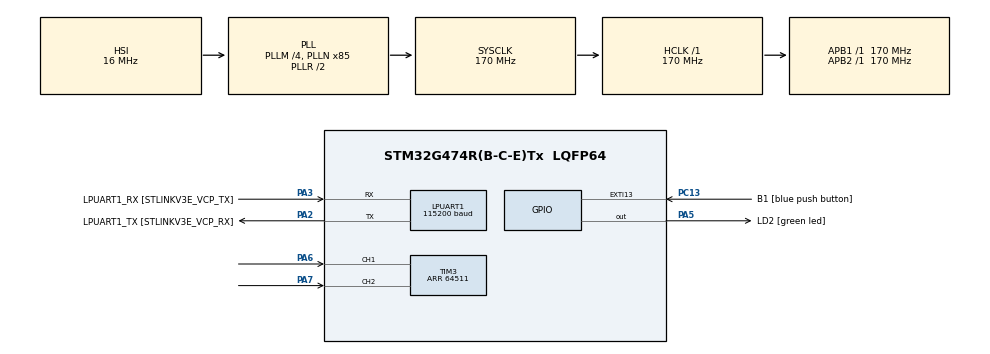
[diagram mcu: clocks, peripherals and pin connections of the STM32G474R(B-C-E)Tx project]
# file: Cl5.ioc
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LPUART1.BaudRate=115200
LPUART1.WordLength=UART_WORDLENGTH_8B
Mcu.Family=STM32G4
Mcu.Name=STM32G474R(B-C-E)Tx
Mcu.Package=LQFP64
NVIC.EXTI15_10_IRQn=true\:0\:0\:false\:false\:true\:true\:true\:true
NVIC.PriorityGroup=NVIC_PRIORITYGROUP_4
NVIC.TIM5_IRQn=true\:0\:0\:false\:false\:true\:true\:true\:true
PA13.GPIO_Label=T_SWDIO
PA13.Mode=Serial_Wire
PA13.Signal=SYS_JTMS-SWDIO
PA14.GPIO_Label=T_SWCLK
PA14.Mode=Serial_Wire
PA14.Signal=SYS_JTCK-SWCLK
PA2.GPIO_Label=LPUART1_TX [STLINKV3E_VCP_RX]
PA2.Mode=Asynchronous
PA2.Signal=LPUART1_TX
PA3.GPIO_Label=LPUART1_RX [STLINKV3E_VCP_TX]
PA3.Mode=Asynchronous
PA3.Signal=LPUART1_RX
PA5.GPIO_Label=LD2 [green led]
PA5.Signal=GPIO_Output
PA6.Signal=S_TIM3_CH1
PA7.Signal=S_TIM3_CH2
PB3.GPIO_Label=T_SWO
PB3.Signal=SYS_JTDO-SWO
PC13.GPIO_Label=B1 [blue push button]
PC13.Signal=GPXTI13
PC14-OSC32_IN.Mode=LSE-External-Oscillator
PC14-OSC32_IN.Signal=RCC_OSC32_IN
PC15-OSC32_OUT.Mode=LSE-External-Oscillator
PC15-OSC32_OUT.Signal=RCC_OSC32_OUT
PF0-OSC_IN.Mode=HSE-External-Oscillator
PF0-OSC_IN.Signal=RCC_OSC_IN
PF1-OSC_OUT.Mode=HSE-External-Oscillator
PF1-OSC_OUT.Signal=RCC_OSC_OUT
ProjectManager.HeapSize=0x200
ProjectManager.StackSize=0x400
ProjectManager.TargetToolchain=STM32CubeIDE
RCC.ADC12Freq_Value=170000000
RCC.ADC345Freq_Value=170000000
RCC.AHBFreq_Value=170000000
RCC.APB1Freq_Value=170000000
RCC.APB1TimFreq_Value=170000000
RCC.APB2Freq_Value=170000000
RCC.APB2TimFreq_Value=170000000
RCC.CortexFreq_Value=170000000
RCC.EXTERNAL_CLOCK_VALUE=12288000
RCC.HCLKFreq_Value=170000000
RCC.HSE_VALUE=24000000
RCC.HSI48_VALUE=48000000
RCC.HSI_VALUE=16000000
RCC.PLLM=RCC_PLLM_DIV4
RCC.PLLN=85
RCC.RTCClockSelection=RCC_RTCCLKSOURCE_LSE
RCC.SYSCLKFreq_VALUE=170000000
RCC.SYSCLKSource=RCC_SYSCLKSOURCE_PLLCLK
RCC.USBFreq_Value=170000000
RCC.VCOOutputFreq_Value=340000000
SH.S_TIM3_CH1.0=TIM3_CH1,Encoder_Interface
SH.S_TIM3_CH2.0=TIM3_CH2,Encoder_Interface
TIM3.EncoderMode=TIM_ENCODERMODE_TI12
TIM3.PeriodNoDither=64511
TIM5.Prescaler=169
VP_SYS_VS_DBSignals.Mode=DisableDeadBatterySignals
VP_TIM5_VS_ClockSourceINT.Mode=Internal
board=NUCLEO-G474RE

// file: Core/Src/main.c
/* USER CODE BEGIN Header */
/**
  ******************************************************************************
  * @file           : main.c
  * @brief          : Main program body
  ******************************************************************************
  * @attention
  *
  * Copyright (c) 2024 STMicroelectronics.
  * All rights reserved.
  *
  * This software is licensed under terms that can be found in the LICENSE file
  * in the root directory of this software component.
  * If no LICENSE file comes with this software, it is provided AS-IS.
  *
  ******************************************************************************
  */
/* USER CODE END Header */
#include "main.h"

UART_HandleTypeDef hlpuart1;

TIM_HandleTypeDef htim3;
TIM_HandleTypeDef htim5;

/* USER CODE BEGIN PV */
//uint32_t QEIReadRaw;
//float deg,rad;

typedef struct
{
	// for record New / Old value to calculate dx / dt
	uint32_t Position[2];
	uint64_t TimeStamp[2];

	float QEIPostion_1turn;
	float QEIAngularVelocity;
}QEI_StructureTypeDef;
QEI_StructureTypeDef QEIdata = {0};
uint64_t _micros = 0;
enum
{
	NEW,OLD
};
/* USER CODE END PV */

void SystemClock_Config(void);
static void MX_GPIO_Init(void);
static void MX_LPUART1_UART_Init(void);
static void MX_TIM3_Init(void);
static void MX_TIM5_Init(void);
/* USER CODE BEGIN PFP */
uint64_t micros();
void QEIEncoderPosVel_Update();
/* USER CODE END PFP */

int main(void)
{

  /* MCU Configuration--------------------------------------------------------*/

  /* Reset of all peripherals, Initializes the Flash interface and the Systick. */
  HAL_Init();

  /* Configure the system clock */
  SystemClock_Config();

  /* Initialize all configured peripherals */
  MX_GPIO_Init();
  MX_LPUART1_UART_Init();
  MX_TIM3_Init();
  MX_TIM5_Init();
  /* USER CODE BEGIN 2 */
  HAL_TIM_Encoder_Start(&htim3,TIM_CHANNEL_ALL);
  HAL_TIM_Base_Start_IT(&htim5);
  /* USER CODE END 2 */

  /* Infinite loop */
  while (1)
  {

    /* USER CODE BEGIN 3 */
//	  QEIReadRaw = __HAL_TIM_GET_COUNTER(&htim3);
//	  deg = (QEIReadRaw/3072.0)*360.0;
//	  rad = (QEIReadRaw/3072.0)*2.0;

	  //Call every 0.1 s
	  static uint64_t timestamp =0;
	  int64_t currentTime = micros();
	  if(currentTime > timestamp)
	  {
		  timestamp =currentTime + 100000;//us
		  QEIEncoderPosVel_Update();
	  }
  }
  /* USER CODE END 3 */
}

void SystemClock_Config(void)
{
  RCC_OscInitTypeDef RCC_OscInitStruct = {0};
  RCC_ClkInitTypeDef RCC_ClkInitStruct = {0};

  /** Configure the main internal regulator output voltage
  */
  HAL_PWREx_ControlVoltageScaling(PWR_REGULATOR_VOLTAGE_SCALE1_BOOST);

  /** Initializes the RCC Oscillators according to the specified parameters
  * in the RCC_OscInitTypeDef structure.
  */
  RCC_OscInitStruct.OscillatorType = RCC_OSCILLATORTYPE_HSI;
  RCC_OscInitStruct.HSIState = RCC_HSI_ON;
  RCC_OscInitStruct.HSICalibrationValue = RCC_HSICALIBRATION_DEFAULT;
  RCC_OscInitStruct.PLL.PLLState = RCC_PLL_ON;
  RCC_OscInitStruct.PLL.PLLSource = RCC_PLLSOURCE_HSI;
  RCC_OscInitStruct.PLL.PLLM = RCC_PLLM_DIV4;
  RCC_OscInitStruct.PLL.PLLN = 85;
  RCC_OscInitStruct.PLL.PLLP = RCC_PLLP_DIV2;
  RCC_OscInitStruct.PLL.PLLQ = RCC_PLLQ_DIV2;
  RCC_OscInitStruct.PLL.PLLR = RCC_PLLR_DIV2;
  if (HAL_RCC_OscConfig(&RCC_OscInitStruct) != HAL_OK)
  {
    Error_Handler();
  }

  /** Initializes the CPU, AHB and APB buses clocks
  */
  RCC_ClkInitStruct.ClockType = RCC_CLOCKTYPE_HCLK|RCC_CLOCKTYPE_SYSCLK
                              |RCC_CLOCKTYPE_PCLK1|RCC_CLOCKTYPE_PCLK2;
  RCC_ClkInitStruct.SYSCLKSource = RCC_SYSCLKSOURCE_PLLCLK;
  RCC_ClkInitStruct.AHBCLKDivider = RCC_SYSCLK_DIV1;
  RCC_ClkInitStruct.APB1CLKDivider = RCC_HCLK_DIV1;
  RCC_ClkInitStruct.APB2CLKDivider = RCC_HCLK_DIV1;

  if (HAL_RCC_ClockConfig(&RCC_ClkInitStruct, FLASH_LATENCY_4) != HAL_OK)
  {
    Error_Handler();
  }
}

static void MX_LPUART1_UART_Init(void)
{

  hlpuart1.Instance = LPUART1;
  hlpuart1.Init.BaudRate = 115200;
  hlpuart1.Init.WordLength = UART_WORDLENGTH_8B;
  hlpuart1.Init.StopBits = UART_STOPBITS_1;
  hlpuart1.Init.Parity = UART_PARITY_NONE;
  hlpuart1.Init.Mode = UART_MODE_TX_RX;
  hlpuart1.Init.HwFlowCtl = UART_HWCONTROL_NONE;
  hlpuart1.Init.OneBitSampling = UART_ONE_BIT_SAMPLE_DISABLE;
  hlpuart1.Init.ClockPrescaler = UART_PRESCALER_DIV1;
  hlpuart1.AdvancedInit.AdvFeatureInit = UART_ADVFEATURE_NO_INIT;
  if (HAL_UART_Init(&hlpuart1) != HAL_OK)
  {
    Error_Handler();
  }
  if (HAL_UARTEx_SetTxFifoThreshold(&hlpuart1, UART_TXFIFO_THRESHOLD_1_8) != HAL_OK)
  {
    Error_Handler();
  }
  if (HAL_UARTEx_SetRxFifoThreshold(&hlpuart1, UART_RXFIFO_THRESHOLD_1_8) != HAL_OK)
  {
    Error_Handler();
  }
  if (HAL_UARTEx_DisableFifoMode(&hlpuart1) != HAL_OK)
  {
    Error_Handler();
  }

}

static void MX_TIM3_Init(void)
{

  TIM_Encoder_InitTypeDef sConfig = {0};
  TIM_MasterConfigTypeDef sMasterConfig = {0};

  htim3.Instance = TIM3;
  htim3.Init.Prescaler = 0;
  htim3.Init.CounterMode = TIM_COUNTERMODE_UP;
  htim3.Init.Period = 64511;
  htim3.Init.ClockDivision = TIM_CLOCKDIVISION_DIV1;
  htim3.Init.AutoReloadPreload = TIM_AUTORELOAD_PRELOAD_DISABLE;
  sConfig.EncoderMode = TIM_ENCODERMODE_TI12;
  sConfig.IC1Polarity = TIM_ICPOLARITY_RISING;
  sConfig.IC1Selection = TIM_ICSELECTION_DIRECTTI;
  sConfig.IC1Prescaler = TIM_ICPSC_DIV1;
  sConfig.IC1Filter = 0;
  sConfig.IC2Polarity = TIM_ICPOLARITY_RISING;
  sConfig.IC2Selection = TIM_ICSELECTION_DIRECTTI;
  sConfig.IC2Prescaler = TIM_ICPSC_DIV1;
  sConfig.IC2Filter = 0;
  if (HAL_TIM_Encoder_Init(&htim3, &sConfig) != HAL_OK)
  {
    Error_Handler();
  }
  sMasterConfig.MasterOutputTrigger = TIM_TRGO_RESET;
  sMasterConfig.MasterSlaveMode = TIM_MASTERSLAVEMODE_DISABLE;
  if (HAL_TIMEx_MasterConfigSynchronization(&htim3, &sMasterConfig) != HAL_OK)
  {
    Error_Handler();
  }

}

static void MX_TIM5_Init(void)
{

  TIM_ClockConfigTypeDef sClockSourceConfig = {0};
  TIM_MasterConfigTypeDef sMasterConfig = {0};

  htim5.Instance = TIM5;
  htim5.Init.Prescaler = 169;
  htim5.Init.CounterMode = TIM_COUNTERMODE_UP;
  htim5.Init.Period = 4.294967295E9;
  htim5.Init.ClockDivision = TIM_CLOCKDIVISION_DIV1;
  htim5.Init.AutoReloadPreload = TIM_AUTORELOAD_PRELOAD_DISABLE;
  if (HAL_TIM_Base_Init(&htim5) != HAL_OK)
  {
    Error_Handler();
  }
  sClockSourceConfig.ClockSource = TIM_CLOCKSOURCE_INTERNAL;
  if (HAL_TIM_ConfigClockSource(&htim5, &sClockSourceConfig) != HAL_OK)
  {
    Error_Handler();
  }
  sMasterConfig.MasterOutputTrigger = TIM_TRGO_RESET;
  sMasterConfig.MasterSlaveMode = TIM_MASTERSLAVEMODE_DISABLE;
  if (HAL_TIMEx_MasterConfigSynchronization(&htim5, &sMasterConfig) != HAL_OK)
  {
    Error_Handler();
  }

}

static void MX_GPIO_Init(void)
{
  GPIO_InitTypeDef GPIO_InitStruct = {0};

  /* GPIO Ports Clock Enable */
  __HAL_RCC_GPIOC_CLK_ENABLE();
  __HAL_RCC_GPIOF_CLK_ENABLE();
  __HAL_RCC_GPIOA_CLK_ENABLE();
  __HAL_RCC_GPIOB_CLK_ENABLE();

  /*Configure GPIO pin Output Level */
  HAL_GPIO_WritePin(LD2_GPIO_Port, LD2_Pin, GPIO_PIN_RESET);

  /*Configure GPIO pin : B1_Pin */
  GPIO_InitStruct.Pin = B1_Pin;
  GPIO_InitStruct.Mode = GPIO_MODE_IT_RISING;
  GPIO_InitStruct.Pull = GPIO_NOPULL;
  HAL_GPIO_Init(B1_GPIO_Port, &GPIO_InitStruct);

  /*Configure GPIO pin : LD2_Pin */
  GPIO_InitStruct.Pin = LD2_Pin;
  GPIO_InitStruct.Mode = GPIO_MODE_OUTPUT_PP;
  GPIO_InitStruct.Pull = GPIO_NOPULL;
  GPIO_InitStruct.Speed = GPIO_SPEED_FREQ_LOW;
  HAL_GPIO_Init(LD2_GPIO_Port, &GPIO_InitStruct);

  /* EXTI interrupt init*/
  HAL_NVIC_SetPriority(EXTI15_10_IRQn, 0, 0);
  HAL_NVIC_EnableIRQ(EXTI15_10_IRQn);

}

/* USER CODE BEGIN 4 */
//MicroSecondTimer Implement
void HAL_TIM_PeriodElapsedCallback(TIM_HandleTypeDef *htim)
{
	if(htim == &htim5)
	{
		_micros += UINT32_MAX;
	}
}
uint64_t micros()
{
	return __HAL_TIM_GET_COUNTER(&htim5)+_micros;
}

void QEIEncoderPosVel_Update()
{
	//collect data
	QEIdata.TimeStamp[NEW] = micros();
	QEIdata.Position[NEW] = __HAL_TIM_GET_COUNTER(&htim3);

	//Postion 1 turn calculation
	QEIdata.QEIPostion_1turn = QEIdata.Position[NEW] % 3072;

	//calculate dx
	int32_t diffPosition = QEIdata.Position[NEW] - QEIdata.Position[OLD];

	//Handle Warp around
	if(diffPosition > 32256)
		diffPosition -=64512;
	if(diffPosition < -32256)
		diffPosition +=64512;

	//calculate dt
	float diffTime = (QEIdata.TimeStamp[NEW]-QEIdata.TimeStamp[OLD]) * 0.000001;

	//calculate anglar velocity
	QEIdata.QEIAngularVelocity = diffPosition / diffTime;

	//store value for next loop
	QEIdata.Position[OLD] = QEIdata.Position[NEW];
	QEIdata.TimeStamp[OLD]=QEIdata.TimeStamp[NEW];

}
/* USER CODE END 4 */

void Error_Handler(void)
{
  __disable_irq();
  while (1)
  {
  }
}
